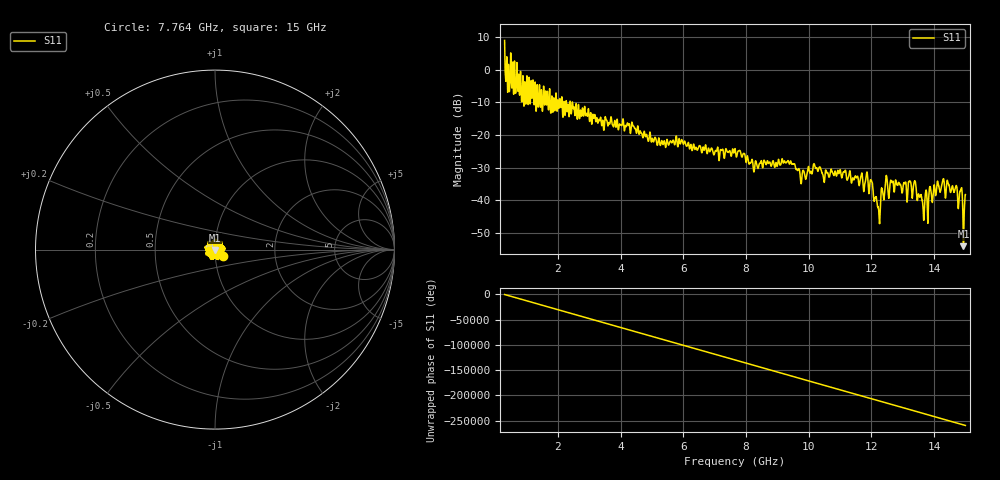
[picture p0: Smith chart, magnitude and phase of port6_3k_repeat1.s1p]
# GHZ S RI R 50.0
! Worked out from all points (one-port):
!   12801 points, 300 MHz to 15 GHz, reference 50 ohm
!   lowest |S11| = -54.1 dB at 14.94 GHz (marker M1), VSWR 1.00, Z = 50.1 - j0.17 ohm
!   |S11| at or under -10 dB: 2.271 GHz to 2.385 GHz (114.9 MHz wide, 4.93 % of centre); 2.396 GHz to 2.459 GHz (62.84 MHz wide, 2.59 % of centre); 2.466 GHz to end of sweep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
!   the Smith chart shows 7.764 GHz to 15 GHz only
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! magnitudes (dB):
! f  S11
! 300 MHz  9.0
! 398.8 MHz  -6.9
! 749 MHz  -1.5
! 908.7 MHz  -10.3
! 1.144 GHz  -3.3
! 1.308 GHz  -12.6
! 2.138 GHz  -10.8
! 3.975 GHz  -16.8
! 5.218 GHz  -20.9
! 5.812 GHz  -23.2
! 7.65 GHz  -24.2
! 8.306 GHz  -27.9
! 9.488 GHz  -28.8
! 9.792 GHz  -32.2
! 10.2 GHz  -29.7
! 10.46 GHz  -32.6
! 11.32 GHz  -31.4
! 11.92 GHz  -37.6
! 12.22 GHz  -42.4
! 12.47 GHz  -32.6
! 13.16 GHz  -37.2
! 13.39 GHz  -34.2
! 13.74 GHz  -37.1
! 14.06 GHz  -38.2
! 14.46 GHz  -35.1
! 14.85 GHz  -37.0
! 14.94 GHz  -54.1
! 15 GHz  -38.3
